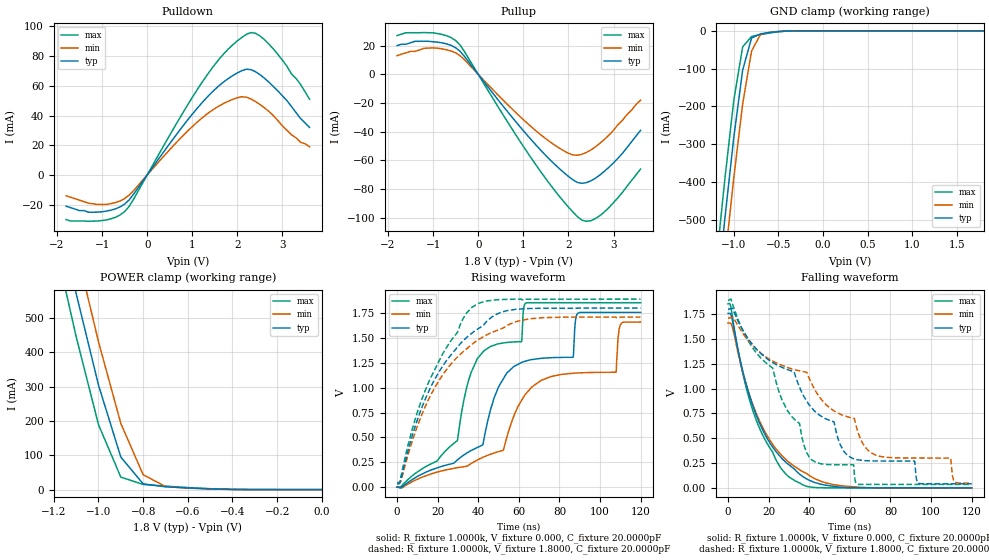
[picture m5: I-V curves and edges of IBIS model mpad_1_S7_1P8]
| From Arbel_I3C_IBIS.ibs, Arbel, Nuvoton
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[Model]   mpad_1_S7_1P8
Model_type   I/O
Polarity   Non-Inverting
Enable   Active-Low
Vinl = 0.6000V
Vinh = 1.2300V
C_comp   3.6000pF   3.5000pF   3.7000pF
[Temperature Range]   50.0000   100.0   0.000
[Voltage Range]   1.8000V   1.7100V   1.8900V
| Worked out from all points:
|   slope of the pulldown table from 0 to 0.27 V, typ, clamps not added: 23.5 ohm
|   slope of the pullup table from 0 to 0.27 V, typ, clamps not added: 24.7 ohm
|   GND clamp passes 1 mA (typ) near -0.43 V on its own axis
|   POWER clamp passes 1 mA (typ) near -0.43 V on its own axis
|   rising waveform, R_fixture 1.0000k, V_fixture 0.000, C_fixture 20.0000pF: 20-80 % time 52.1ns typ, 62.2ns min, 37.3ns max; typ from 0 V to 1.76 V
|   rising waveform, R_fixture 1.0000k, V_fixture 1.8000, C_fixture 20.0000pF: 20-80 % time 25.7ns typ, 27.3ns min, 23.1ns max; typ from 0.041 V to 1.8 V
|   falling waveform, R_fixture 1.0000k, V_fixture 0.000, C_fixture 20.0000pF: 20-80 % time 19.5ns typ, 20.9ns min, 17.6ns max; typ from 1.76 V to 0 V
|   falling waveform, R_fixture 1.0000k, V_fixture 1.8000, C_fixture 20.0000pF: 20-80 % time 44.4ns typ, 53.9ns min, 28.9ns max; typ from 1.8 V to 0.041 V
[Pulldown]
|   *******  Pulldown data is GROUND relative! *******
| voltage   I(typ)   I(min)   I(max)
-1.8V     -21mA      -14mA      -30mA
-1.1V     -25mA      -19.9mA    -31mA
-500mV    -19.62mA   -15.9mA    -24.65mA
-300mV    -12.88mA   -10.47mA   -16.25mA
700mV     29.28mA    23.52mA    37.2mA
1.3V      51.43mA    40.42mA    66.06mA
1.8V      64.97mA    49.64mA    84.83mA
2.2V      71.2mA     52.32mA    94.64mA
2.4V      69.54mA    49.44mA    95.38mA
2.7V      62.41mA    42.7mA     88.03mA
3.2V      46mA       27mA       68mA
3.6V      32mA       19mA       51mA
[Pullup]
|   *******  Pullup data is VCC relative! *******
| voltage   I(typ)   I(min)   I(max)
-1.8V     20mA       13mA       27mA
-1.1V     23mA       18.3mA     29mA
-500mV    18.53mA    14.96mA    23.55mA
-300mV    12.3mA     10.02mA    15.61mA
700mV     -27.9mA    -22.56mA   -35.58mA
1.4V      -53.29mA   -42.43mA   -68.43mA
2V        -71.09mA   -54.96mA   -92.47mA
2.3V      -75.93mA   -55.73mA   -101.6mA
2.5V      -74.17mA   -52.65mA   -102mA
2.8V      -67.5mA    -45.3mA    -95.78mA
3.2V      -55mA      -32mA      -82.2mA
3.6V      -39mA      -18mA      -66mA
[GND_clamp]
| voltage   I(typ)   I(min)   I(max)
-1.8V     -2.193A    -2.298A    -2.097A
-1.2V     -728.1mA   -839.7mA   -623.2mA
-1.1V     -498.9mA   -609.8mA   -394.2mA
-1V       -283.8mA   -390.8mA   -185.4mA
-900mV    -104.2mA   -194mA     -42.71mA
-800mV    -19.12mA   -53.44mA   -14.95mA
-700mV    -7.96mA    -9.653mA   -9.92mA
-600mV    -4.561mA   -3.953mA   -5.865mA
-500mV    -2.019mA   -1.748mA   -2.59mA
-300mV    -36.02uA   -50.05uA   -31.18uA
1.8V      6.952nA    188.8nA    4.146nA
[POWER_clamp]
| voltage   I(typ)   I(min)   I(max)
-1.8V     2.714A     2.839A     2.599A
-1.2V     859.3mA    992.9mA    733mA
-1.1V     571.2mA    703.7mA    445.6mA
-1V       304.6mA    430.7mA    189.4mA
-900mV    94.79mA    192.9mA    36.48mA
-800mV    16.82mA    43.46mA    14.94mA
-700mV    8.218mA    9.002mA    10.09mA
-600mV    4.82mA     4.316mA    5.998mA
-400mV    511.4uA    556.1uA    552.2uA
0V        6.952nA    19.66nA    9.576nA
[Ramp]
| variable   typ   min   max
dV/dt_r   1.0542/58.7377n   0.9960/72.5383n   1.1124/54.5066n
dV/dt_f   1.0554/49.1348n   0.9973/58.7022n   1.1134/33.0149n
R_load = 1.0000k
[Rising Waveform]
R_fixture = 1.0000k
V_fixture = 0.000
C_fixture = 20.0000pF
| time   V(typ)   V(min)   V(max)
0s        370.3nV    605.1nV    312.7nV
29.79ns   275mV      196.4mV    470mV
42.28ns   425.4mV    300.3mV    1.36V
49.85ns   1.002V     357mV      1.441V
61.38ns   1.254V     872.8mV    1.462V
63.3ns    1.267V     934.6mV    1.848V
86.73ns   1.305V     1.145V     1.854V
107.9ns   1.757V     1.155V     1.854V
110ns     1.757V     1.63V      1.854V
120ns     1.757V     1.66V      1.854V
[Rising Waveform]
R_fixture = 1.0000k
V_fixture = 1.8000
V_fixture_min = 1.7100
V_fixture_max = 1.8900
C_fixture = 20.0000pF
| time   V(typ)   V(min)   V(max)
0s        41.04mV    47.79mV    34.28mV
1.081ns   40.48mV    47.76mV    34.32mV
1.802ns   71.55mV    54.88mV    97.69mV
9.369ns   637.5mV    576.6mV    711mV
17.54ns   1.044V     961.6mV    1.14V
26.31ns   1.323V     1.231V     1.464V
37.12ns   1.552V     1.439V     1.811V
47.93ns   1.727V     1.566V     1.881V
58.14ns   1.787V     1.659V     1.889V
120ns     1.8V       1.71V      1.89V
[Falling Waveform]
R_fixture = 1.0000k
V_fixture = 0.000
C_fixture = 20.0000pF
| time   V(typ)   V(min)   V(max)
0s        1.757V     1.66V      1.854V
1.081ns   1.757V     1.661V     1.848V
1.802ns   1.718V     1.64V      1.774V
7.087ns   1.19V      1.179V     1.169V
13.09ns   774.8mV    792.9mV    727.5mV
20.18ns   466.7mV    494.8mV    416.9mV
29.91ns   233.7mV    259.6mV    111.7mV
41.8ns    60.13mV    103.3mV    5.258mV
53.93ns   10.37mV    26.45mV    62.73uV
120ns     394.4nV    500nV      327.9nV
[Falling Waveform]
R_fixture = 1.0000k
V_fixture = 1.8000
V_fixture_min = 1.7100
V_fixture_max = 1.8900
C_fixture = 20.0000pF
| time   V(typ)   V(min)   V(max)
0s        1.8V       1.71V      1.89V
21.98ns   1.263V     1.278V     1.207V
32.55ns   1.169V     1.193V     693.4mV
41.32ns   803.3mV    1.044V     280.5mV
52.13ns   665.5mV    776.3mV    233.4mV
62.22ns   291.7mV    697.7mV    141.5mV
70.03ns   271.6mV    357.5mV    34.28mV
109.7ns   41.04mV    300mV      34.28mV
111.8ns   41.04mV    57.3mV     34.28mV
120ns     41.04mV    47.79mV    34.28mV
